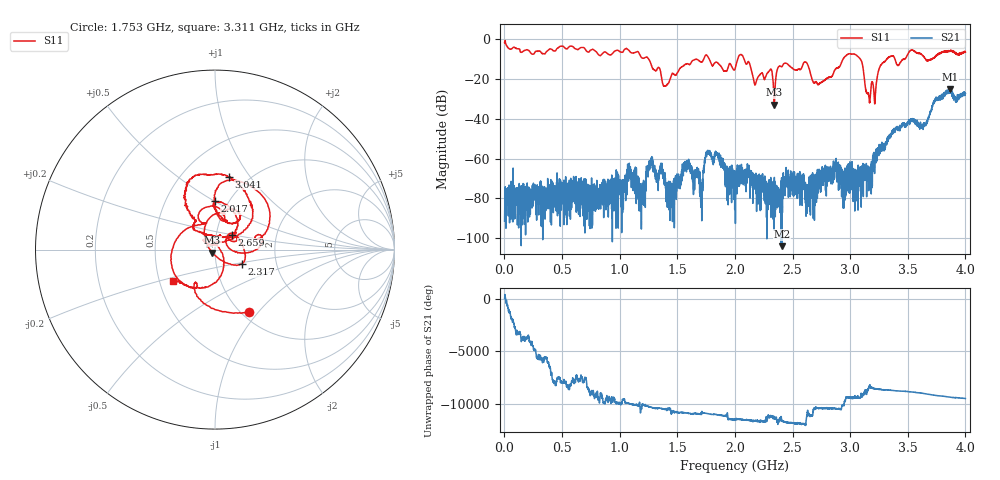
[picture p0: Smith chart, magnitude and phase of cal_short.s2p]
!Created with skrf (http://scikit-rf.org).
# GHz S RI R 50.0
!freq ReS11 ImS11 ReS21 ImS21 ReS12 ImS12 ReS22 ImS22
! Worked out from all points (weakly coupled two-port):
!   4000 points, 1 MHz to 4 GHz, reference 50 ohm
!   highest |S21| = -25.29 dB at 3.864 GHz (marker M1); lowest = -104.0 dB at 2.409 GHz (marker M2)
!   lowest |S11| = -33.0 dB at 2.341 GHz (marker M3), VSWR 1.05, Z = 48.6 - j1.7 ohm
!   |S11| at or under -10 dB: 1.25 GHz to 1.73 GHz (479.7 MHz wide, 32.2 % of centre); 1.776 GHz to 2.024 GHz (247.5 MHz wide, 13 % of centre); 2.079 GHz to 2.939 GHz (860.3 MHz wide, 34.3 % of centre) (the widest 3 of 7)
!   S12 and S22 are empty: the file has one direction only
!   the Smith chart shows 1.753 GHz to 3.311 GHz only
!   S11 on the Smith chart (normalised r, x): 1.753 GHz: 1.09, -0.90; 2.017 GHz: 0.86, +0.50; 2.317 GHz: 1.33, -0.22; 2.659 GHz: 1.19, +0.20; 3.041 GHz: 0.82, +0.80; 3.311 GHz: 0.59, -0.23
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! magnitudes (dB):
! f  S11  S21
! 1 MHz  -1.8  -91.5
! 668 MHz  -4.3  -75.7
! 1.085 GHz  -6.1  -69.2
! 1.185 GHz  -9.0  -83.5
! 1.334 GHz  -14.3  -76.1
! 1.396 GHz  -23.6  -69.8
! 1.582 GHz  -12.4  -62.0
! 1.704 GHz  -11.6  -76.2
! 1.753 GHz  -8.0  -59.1
! 2.001 GHz  -14.9  -75.8
! 2.017 GHz  -11.4  -77.7
! 2.317 GHz  -15.5  -74.7
! 2.341 GHz  -33.0  -73.3
! 2.409 GHz  -13.9  -104.0
! 2.659 GHz  -18.2  -74.9
! 2.667 GHz  -19.8  -79.8
! 3.041 GHz  -7.7  -75.6
! 3.157 GHz  -27.2  -71.0
! 3.311 GHz  -10.6  -52.7
! 3.334 GHz  -9.1  -48.8
! 3.864 GHz  -6.1  -25.3
! 4 GHz  -6.5  -27.3
